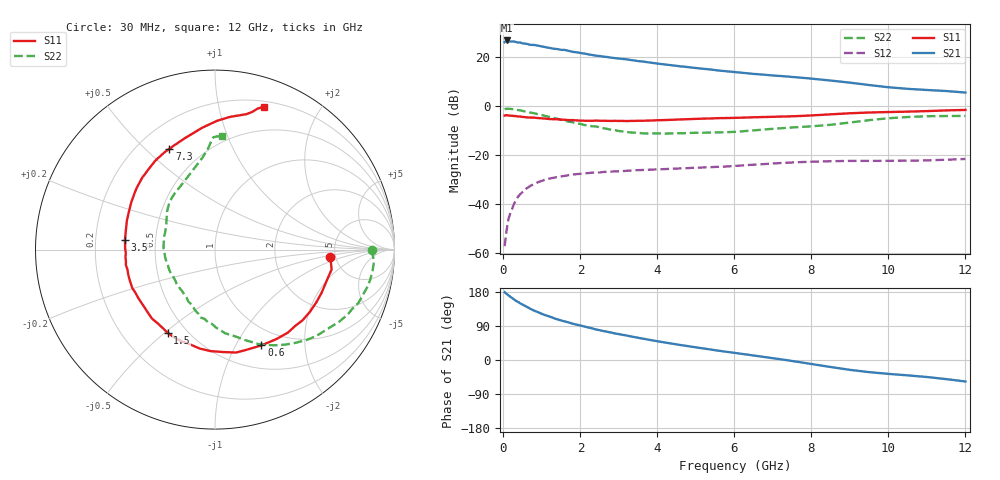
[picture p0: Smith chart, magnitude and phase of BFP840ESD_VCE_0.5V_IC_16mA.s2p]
! Infineon Technologies  Discrete & RF Semiconductors
! BFP840ESD
! VCE =  0.5 V,  IC =  16 mA
! Common Emitter S-Parameters:  May 2012
# GHz  S  MA  R  50
!  f  S11  S21  S12  S22
! GHz  MAG  ANG  MAG  ANG  MAG  ANG  MAG  ANG
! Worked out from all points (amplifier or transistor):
!   93 points, 30 MHz to 12 GHz, reference 50 ohm
!   highest |S21| = 26.8 dB at 80 MHz (marker M1)
!   |S21| within 3 dB of that: start of sweep to 1.184 GHz
!   unconditionally stable (mu >= 1): start of sweep to 76.44 MHz; 3.926 GHz to 11.48 GHz
!   at 1.1 GHz: K = 0.38, MSG = 27.0 dB, |S12| = -29.9 dB
!   at 4.2 GHz: K = 1.04, MAG = 20.1 dB, |S12| = -25.6 dB
!   at 12 GHz: K = 0.93, MSG = 13.5 dB, |S12| = -21.5 dB
!   S11 on the Smith chart (normalised r, x): 30 MHz: 4.52, -0.66; 600 MHz: 0.78, -1.28; 1.5 GHz: 0.39, -0.51; 3.5 GHz: 0.33, +0.05; 7.3 GHz: 0.33, +0.60; 12 GHz: 0.25, +1.37
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0.03  0.644 -3.8  20.24 178.9  0.0014 39.8  0.8721 -0.3
0.08  0.6591 -9.6  21.91 174.6  0.0029 85.6  0.8885 -4.0
0.13  0.6451 -16.2  20.9 170.6  0.005 75.0  0.8861 -7.7
0.28  0.6323 -33.3  20.79 159.6  0.0104 72.5  0.8611 -17.3
0.33  0.6269 -38.9  20.33 155.8  0.0124 70.1  0.8525 -20.4
0.43  0.6156 -48.7  19.93 149.8  0.0159 68.2  0.8238 -25.9
0.6  0.5929 -64.1  18.72 140.8  0.0211 61.6  0.7669 -35.2
0.7  0.5852 -72.9  17.78 135.0  0.0237 59.0  0.7428 -40.3
0.8  0.5854 -78.4  17.73 130.2  0.0259 56.2  0.717 -44.6
0.9  0.5727 -85.4  17.17 126.2  0.0283 53.2  0.6856 -49.3
1.1  0.5581 -98.7  15.94 117.8  0.0321 48.3  0.6294 -57.9
1.5  0.5332 -119.7  14.09 104.3  0.037 39.9  0.5281 -72.1
1.6  0.5278 -122.1  14 101.6  0.0381 38.3  0.5041 -75.5
2.1  0.506 -144.0  11.83 88.4  0.0425 31.8  0.4141 -92.4
2.9  0.5039 -170.1  9.545 69.9  0.0468 25.5  0.3247 -117.4
3.5  0.505 173.7  8.303 58.6  0.0497 21.6  0.2859 -138.6
4.1  0.5195 159.3  7.232 47.7  0.0519 18.8  0.2783 -158.1
6.1  0.5815 129.3  4.883 17.5  0.0611 12.0  0.3035 154.0
7.3  0.617 114.3  4.068 0.5  0.0701 5.3  0.36 135.5
8.5  0.6827 96.0  3.334 -18.5  0.0756 -3.9  0.4176 114.1
10.5  0.7749 76.9  2.26 -40.5  0.0775 -15.5  0.602 92.1
12  0.8397 71.2  1.899 -56.7  0.084 -21.3  0.6341 86.6
